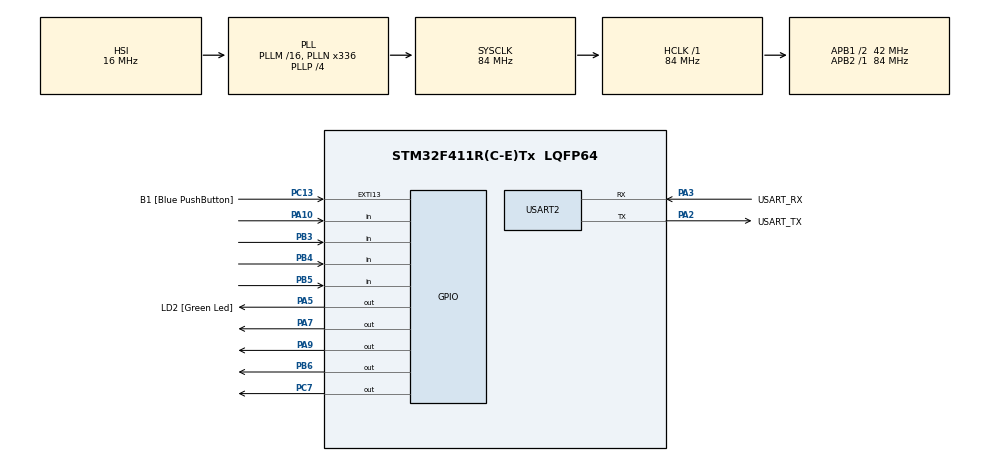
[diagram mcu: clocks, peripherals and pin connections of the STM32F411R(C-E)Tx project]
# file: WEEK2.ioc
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Mcu.Family=STM32F4
Mcu.Name=STM32F411R(C-E)Tx
Mcu.Package=LQFP64
NVIC.PriorityGroup=NVIC_PRIORITYGROUP_0
PA10.GPIO_PuPd=GPIO_PULLUP
PA10.Signal=GPIO_Input
PA13.GPIO_Label=TMS
PA13.Mode=Serial_Wire
PA13.Signal=SYS_JTMS-SWDIO
PA14.GPIO_Label=TCK
PA14.Mode=Serial_Wire
PA14.Signal=SYS_JTCK-SWCLK
PA2.GPIO_Label=USART_TX
PA2.Mode=Asynchronous
PA2.Signal=USART2_TX
PA3.GPIO_Label=USART_RX
PA3.Mode=Asynchronous
PA3.Signal=USART2_RX
PA5.GPIO_Label=LD2 [Green Led]
PA5.PinState=GPIO_PIN_RESET
PA5.Signal=GPIO_Output
PA7.PinState=GPIO_PIN_SET
PA7.Signal=GPIO_Output
PA9.PinState=GPIO_PIN_SET
PA9.Signal=GPIO_Output
PB3.GPIO_PuPd=GPIO_PULLUP
PB3.Signal=GPIO_Input
PB4.GPIO_PuPd=GPIO_PULLUP
PB4.Signal=GPIO_Input
PB5.GPIO_PuPd=GPIO_PULLUP
PB5.Signal=GPIO_Input
PB6.PinState=GPIO_PIN_SET
PB6.Signal=GPIO_Output
PC13-ANTI_TAMP.GPIO_Label=B1 [Blue PushButton]
PC13-ANTI_TAMP.GPIO_ModeDefaultEXTI=GPIO_MODE_IT_FALLING
PC13-ANTI_TAMP.Signal=GPXTI13
PC14-OSC32_IN.Mode=LSE-External-Oscillator
PC14-OSC32_IN.Signal=RCC_OSC32_IN
PC15-OSC32_OUT.Mode=LSE-External-Oscillator
PC15-OSC32_OUT.Signal=RCC_OSC32_OUT
PC7.Signal=GPIO_Output
PH0\ -\ OSC_IN.Mode=HSE-External-Clock-Source
PH0\ -\ OSC_IN.Signal=RCC_OSC_IN
PH1\ -\ OSC_OUT.Mode=HSE-External-Clock-Source
PH1\ -\ OSC_OUT.Signal=RCC_OSC_OUT
ProjectManager.HeapSize=0x200
ProjectManager.StackSize=0x400
ProjectManager.TargetToolchain=STM32CubeIDE
RCC.48MHZClocksFreq_Value=84000000
RCC.AHBFreq_Value=84000000
RCC.APB1CLKDivider=RCC_HCLK_DIV2
RCC.APB1Freq_Value=42000000
RCC.APB1TimFreq_Value=84000000
RCC.APB2Freq_Value=84000000
RCC.APB2TimFreq_Value=84000000
RCC.CortexFreq_Value=84000000
RCC.FLatency-AdvancedSettings=FLASH_LATENCY_2
RCC.HCLKFreq_Value=84000000
RCC.HSE_VALUE=8000000
RCC.HSI_VALUE=16000000
RCC.PLLN=336
RCC.PLLP=RCC_PLLP_DIV4
RCC.SYSCLKFreq_VALUE=84000000
RCC.SYSCLKSource=RCC_SYSCLKSOURCE_PLLCLK
RCC.VCOOutputFreq_Value=336000000
USART2.VirtualMode=VM_ASYNC
board=NUCLEO-F411RE

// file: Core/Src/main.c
/* USER CODE BEGIN Header */
/**
 ******************************************************************************
 * @file           : main.c
 * @brief          : Main program body
 ******************************************************************************
 * @attention
 *
 * <h2><center>&copy; Copyright (c) 2021 STMicroelectronics.
 * All rights reserved.</center></h2>
 *
 * This software component is licensed by ST under BSD 3-Clause license,
 * the "License"; You may not use this file except in compliance with the
 * License. You may obtain a copy of the License at:
 *                        opensource.org/licenses/BSD-3-Clause
 *
 ******************************************************************************
 */
/* USER CODE END Header */
#include "main.h"

UART_HandleTypeDef huart2;

/* USER CODE BEGIN PV */
//save status of Button Matrix
uint16_t ButtonMatrixState = 0;
uint8_t State = 0;
//Button TimeStamp
uint32_t ButtonMatrixTimestamp = 0;
uint32_t ButtonState[2] = { 0 };
/* USER CODE END PV */

void SystemClock_Config(void);
static void MX_GPIO_Init(void);
static void MX_USART2_UART_Init(void);
/* USER CODE BEGIN PFP */
//scan and update data of Button Matrix
void ButtonMatrixUpdate();

/* USER CODE END PFP */

int main(void) {

	/* MCU Configuration--------------------------------------------------------*/

	/* Reset of all peripherals, Initializes the Flash interface and the Systick. */
	HAL_Init();

	/* Configure the system clock */
	SystemClock_Config();

	/* Initialize all configured peripherals */
	MX_GPIO_Init();
	MX_USART2_UART_Init();

	/* Infinite loop */
	while (1) {

		/* USER CODE BEGIN 3 */
		ButtonMatrixUpdate();

		ButtonState[0] = ButtonMatrixState;
		if (ButtonState[1] == 0 && ButtonState[0] != 0) {
			i = 1;
			DataBuffer = ButtonMatrixState;
			switch (State) {
			case 0:
				if (ButtonState[0] == 0b1000000) {
					State = 1;
				}
				break;
			case 1:
				if (ButtonState[0] == 0b1000000000) {
					State = 2;
				} else {
					State = 12;
				}
				break;
			case 2:
				if (ButtonState[0] == 0b10000000000) {
					State = 3;
				} else {
					State = 12;
				}
				break;
			case 3:
				if (ButtonState[0] == 0b10000) {
					State = 4;
				} else {
					State = 12;
				}
				break;
			case 4:
				if (ButtonState[0] == 0b1000000000000) {
					State = 5;
				} else {
					State = 12;
				}
				break;
			case 5:
				if (ButtonState[0] == 0b100000) {
					State = 6;
				} else {
					State = 12;
				}
				break;
			case 6:
				if (ButtonState[0] == 0b1000000000000) {
					State = 7;
				} else {
					State = 12;
				}
				break;
			case 7:
				if (ButtonState[0] == 0b1000000000000) {
					State = 8;
				} else {
					State = 12;
				}
				break;
			case 8:
				if (ButtonState[0] == 0b1000000000000) {
					State = 9;
				} else {
					State = 12;
				}
				break;
			case 9:
				if (ButtonState[0] == 0b100000000) {
					State = 10;
				} else {
					State = 12;
				}
				break;
			case 10:
				if (ButtonState[0] == 0b100) {
					State = 11;
				} else {
					State = 12;
				}
				break;
			case 11:
				if (ButtonState[0] == 0b1000000000000000) {
					HAL_GPIO_WritePin(GPIOA, GPIO_PIN_5, GPIO_PIN_SET);
				} else {
					State = 12;
				}
				break;
			case 12:
				break;
			}
			if(ButtonState[0] == 0b1000)
			{
				State = 0;
				HAL_GPIO_WritePin(GPIOA, GPIO_PIN_5, GPIO_PIN_RESET);
			}
		}
		ButtonState[1] = ButtonState[0];
	}
	/* USER CODE END 3 */
}

void SystemClock_Config(void) {
	RCC_OscInitTypeDef RCC_OscInitStruct = { 0 };
	RCC_ClkInitTypeDef RCC_ClkInitStruct = { 0 };

	/** Configure the main internal regulator output voltage
	 */
	__HAL_RCC_PWR_CLK_ENABLE();
	__HAL_PWR_VOLTAGESCALING_CONFIG(PWR_REGULATOR_VOLTAGE_SCALE1);
	/** Initializes the RCC Oscillators according to the specified parameters
	 * in the RCC_OscInitTypeDef structure.
	 */
	RCC_OscInitStruct.OscillatorType = RCC_OSCILLATORTYPE_HSI;
	RCC_OscInitStruct.HSIState = RCC_HSI_ON;
	RCC_OscInitStruct.HSICalibrationValue = RCC_HSICALIBRATION_DEFAULT;
	RCC_OscInitStruct.PLL.PLLState = RCC_PLL_ON;
	RCC_OscInitStruct.PLL.PLLSource = RCC_PLLSOURCE_HSI;
	RCC_OscInitStruct.PLL.PLLM = 16;
	RCC_OscInitStruct.PLL.PLLN = 336;
	RCC_OscInitStruct.PLL.PLLP = RCC_PLLP_DIV4;
	RCC_OscInitStruct.PLL.PLLQ = 4;
	if (HAL_RCC_OscConfig(&RCC_OscInitStruct) != HAL_OK) {
		Error_Handler();
	}
	/** Initializes the CPU, AHB and APB buses clocks
	 */
	RCC_ClkInitStruct.ClockType = RCC_CLOCKTYPE_HCLK | RCC_CLOCKTYPE_SYSCLK
			| RCC_CLOCKTYPE_PCLK1 | RCC_CLOCKTYPE_PCLK2;
	RCC_ClkInitStruct.SYSCLKSource = RCC_SYSCLKSOURCE_PLLCLK;
	RCC_ClkInitStruct.AHBCLKDivider = RCC_SYSCLK_DIV1;
	RCC_ClkInitStruct.APB1CLKDivider = RCC_HCLK_DIV2;
	RCC_ClkInitStruct.APB2CLKDivider = RCC_HCLK_DIV1;

	if (HAL_RCC_ClockConfig(&RCC_ClkInitStruct, FLASH_LATENCY_2) != HAL_OK) {
		Error_Handler();
	}
}

static void MX_USART2_UART_Init(void) {

	huart2.Instance = USART2;
	huart2.Init.BaudRate = 115200;
	huart2.Init.WordLength = UART_WORDLENGTH_8B;
	huart2.Init.StopBits = UART_STOPBITS_1;
	huart2.Init.Parity = UART_PARITY_NONE;
	huart2.Init.Mode = UART_MODE_TX_RX;
	huart2.Init.HwFlowCtl = UART_HWCONTROL_NONE;
	huart2.Init.OverSampling = UART_OVERSAMPLING_16;
	if (HAL_UART_Init(&huart2) != HAL_OK) {
		Error_Handler();
	}

}

static void MX_GPIO_Init(void) {
	GPIO_InitTypeDef GPIO_InitStruct = { 0 };

	/* GPIO Ports Clock Enable */
	__HAL_RCC_GPIOC_CLK_ENABLE();
	__HAL_RCC_GPIOH_CLK_ENABLE();
	__HAL_RCC_GPIOA_CLK_ENABLE();
	__HAL_RCC_GPIOB_CLK_ENABLE();

	/*Configure GPIO pin Output Level */
	HAL_GPIO_WritePin(LD2_GPIO_Port, LD2_Pin, GPIO_PIN_RESET);

	/*Configure GPIO pin Output Level */
	HAL_GPIO_WritePin(GPIOA, GPIO_PIN_7 | GPIO_PIN_9, GPIO_PIN_SET);

	/*Configure GPIO pin Output Level */
	HAL_GPIO_WritePin(GPIOC, GPIO_PIN_7, GPIO_PIN_SET);

	/*Configure GPIO pin Output Level */
	HAL_GPIO_WritePin(GPIOB, GPIO_PIN_6, GPIO_PIN_SET);

	/*Configure GPIO pin : B1_Pin */
	GPIO_InitStruct.Pin = B1_Pin;
	GPIO_InitStruct.Mode = GPIO_MODE_IT_FALLING;
	GPIO_InitStruct.Pull = GPIO_NOPULL;
	HAL_GPIO_Init(B1_GPIO_Port, &GPIO_InitStruct);

	/*Configure GPIO pin : LD2_Pin */
	GPIO_InitStruct.Pin = LD2_Pin;
	GPIO_InitStruct.Mode = GPIO_MODE_OUTPUT_PP;
	GPIO_InitStruct.Pull = GPIO_NOPULL;
	GPIO_InitStruct.Speed = GPIO_SPEED_FREQ_LOW;
	HAL_GPIO_Init(LD2_GPIO_Port, &GPIO_InitStruct);

	/*Configure GPIO pins : PA7 PA9 */
	GPIO_InitStruct.Pin = GPIO_PIN_7 | GPIO_PIN_9;
	GPIO_InitStruct.Mode = GPIO_MODE_OUTPUT_OD;
	GPIO_InitStruct.Pull = GPIO_NOPULL;
	GPIO_InitStruct.Speed = GPIO_SPEED_FREQ_LOW;
	HAL_GPIO_Init(GPIOA, &GPIO_InitStruct);

	/*Configure GPIO pin : PC7 */
	GPIO_InitStruct.Pin = GPIO_PIN_7;
	GPIO_InitStruct.Mode = GPIO_MODE_OUTPUT_OD;
	GPIO_InitStruct.Pull = GPIO_NOPULL;
	GPIO_InitStruct.Speed = GPIO_SPEED_FREQ_LOW;
	HAL_GPIO_Init(GPIOC, &GPIO_InitStruct);

	/*Configure GPIO pin : PA10 */
	GPIO_InitStruct.Pin = GPIO_PIN_10;
	GPIO_InitStruct.Mode = GPIO_MODE_INPUT;
	GPIO_InitStruct.Pull = GPIO_PULLUP;
	HAL_GPIO_Init(GPIOA, &GPIO_InitStruct);

	/*Configure GPIO pins : PB3 PB4 PB5 */
	GPIO_InitStruct.Pin = GPIO_PIN_3 | GPIO_PIN_4 | GPIO_PIN_5;
	GPIO_InitStruct.Mode = GPIO_MODE_INPUT;
	GPIO_InitStruct.Pull = GPIO_PULLUP;
	HAL_GPIO_Init(GPIOB, &GPIO_InitStruct);

	/*Configure GPIO pin : PB6 */
	GPIO_InitStruct.Pin = GPIO_PIN_6;
	GPIO_InitStruct.Mode = GPIO_MODE_OUTPUT_OD;
	GPIO_InitStruct.Pull = GPIO_NOPULL;
	GPIO_InitStruct.Speed = GPIO_SPEED_FREQ_LOW;
	HAL_GPIO_Init(GPIOB, &GPIO_InitStruct);

}

/* USER CODE BEGIN 4 */
//port/pin array , 0-3 input , 4-7 output
GPIO_TypeDef *ButtonMatrixPort[8] = { GPIOA, GPIOB, GPIOB, GPIOB, GPIOA, GPIOC,
GPIOB, GPIOA };

uint16_t ButtonMatrixPin[8] = { GPIO_PIN_10, GPIO_PIN_3, GPIO_PIN_5, GPIO_PIN_4,
GPIO_PIN_9, GPIO_PIN_7,
GPIO_PIN_6, GPIO_PIN_7 };

uint8_t ButtonMatrixRow = 0;  //What  R Now
void ButtonMatrixUpdate() {
	if (HAL_GetTick() - ButtonMatrixTimestamp >= 100) {
		ButtonMatrixTimestamp = HAL_GetTick();
		int i;
		for (i = 0; i < 4; i += 1) { //0-3
			GPIO_PinState PinState = HAL_GPIO_ReadPin(ButtonMatrixPort[i],
					ButtonMatrixPin[i]);
			if (PinState == GPIO_PIN_RESET) // Button Press
					{
				ButtonMatrixState |= (uint16_t) 1 << (i + ButtonMatrixRow * 4);
			} else {
				ButtonMatrixState &=
						~((uint16_t) 1 << (i + ButtonMatrixRow * 4));
			}
		}
		uint8_t NowOutputPin = ButtonMatrixRow + 4;
		//SET Rn
		HAL_GPIO_WritePin(ButtonMatrixPort[NowOutputPin],
				ButtonMatrixPin[NowOutputPin], GPIO_PIN_SET);
		// update New Row
		ButtonMatrixRow = (ButtonMatrixRow + 1) % 4;

		uint8_t NextOutputPin = ButtonMatrixRow + 4;
		//Reset Rn+1
		HAL_GPIO_WritePin(ButtonMatrixPort[NextOutputPin],
				ButtonMatrixPin[NextOutputPin], GPIO_PIN_RESET);

	}
}
/* USER CODE END 4 */

void Error_Handler(void) {
	__disable_irq();
	while (1) {
	}
}

/************************ (C) COPYRIGHT STMicroelectronics *****END OF FILE****/
